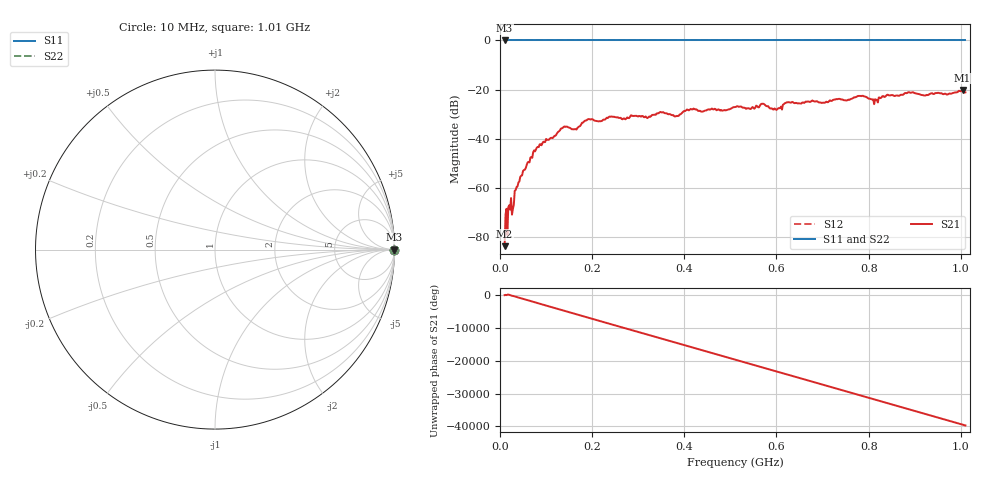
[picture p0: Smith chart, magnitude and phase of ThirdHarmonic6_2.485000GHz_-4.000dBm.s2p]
! 8/17/2025 4:39:42 AM
! C:\ANRITSUVNA\TEMP\TEMP.S2P
! CHANNEL.1
! TR.MEASUREMENT
! RAW.DATA
! RF.CORRECTION.OFF
! AVERAGING.OFF
! IF.BANDWIDTH: 5KHZ
! SWEEPTYPE:  FREQ.SWEEP(Linear)
! Reference Plane Port Info
! PORT:  PORT1  PORT2
! DISTANCE:  0  m  0  m
! TIME:  0  s  0  s
! PHASE.OFFSET:  0  deg.  0  deg.
! LOSS:  0  dB  0  dB
! REF.LOSS:  0  dB  0  dB
! REF.FREQ:  0  Hz  0  Hz
! Power Info
! POWER:  -20  dBm  -20  dBm
! EFF.POWER:  -20  dBm  -20  dBm
! SOURCE.ATTEN:  0  dB  0  dB
! TEST.ATTEN:  0  dB  0  dB
# GHZ S RI R 50.0
! FREQ.GHZ  S11RE  S11IM  S21RE  S21IM  S12RE  S12IM  S22RE  S22IM
!; PortSelection: Port_12
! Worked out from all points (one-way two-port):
!   501 points, 10 MHz to 1.01 GHz, reference 50 ohm
!   highest |S21| = -20.16 dB at 1.004 GHz (marker M1); lowest = -83.7 dB at 10 MHz (marker M2)
!   lowest |S11| = 0.0 dB at 10 MHz (marker M3)
!   |S11| at or under -10 dB: nowhere
!   |S22| runs from 0.0 to 0.0 dB; largest |S21 - S12| = 1.1
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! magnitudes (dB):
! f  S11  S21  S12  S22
! 10 MHz  0.0  -83.7  0.0  0.0
! 12 MHz  0.0  -70.9  0.0  0.0
! 16 MHz  0.0  -79.2  0.0  0.0
! 30 MHz  0.0  -66.8  0.0  0.0
! 36 MHz  0.0  -59.6  0.0  0.0
! 76 MHz  0.0  -45.1  0.0  0.0
! 136 MHz  0.0  -35.6  0.0  0.0
! 162 MHz  0.0  -36.1  0.0  0.0
! 178 MHz  0.0  -33.5  0.0  0.0
! 344 MHz  0.0  -29.7  0.0  0.0
! 382 MHz  0.0  -30.8  0.0  0.0
! 416 MHz  0.0  -28.0  0.0  0.0
! 510 MHz  0.0  -27.1  0.0  0.0
! 570 MHz  0.0  -25.8  0.0  0.0
! 598 MHz  0.0  -28.0  0.0  0.0
! 622 MHz  0.0  -25.2  0.0  0.0
! 678 MHz  0.0  -24.4  0.0  0.0
! 784 MHz  0.0  -22.7  0.0  0.0
! 816 MHz  0.0  -24.1  0.0  0.0
! 844 MHz  0.0  -22.3  0.0  0.0
! 1.004 GHz  0.0  -20.2  0.0  0.0
! 1.01 GHz  0.0  -21.1  0.0  0.0
